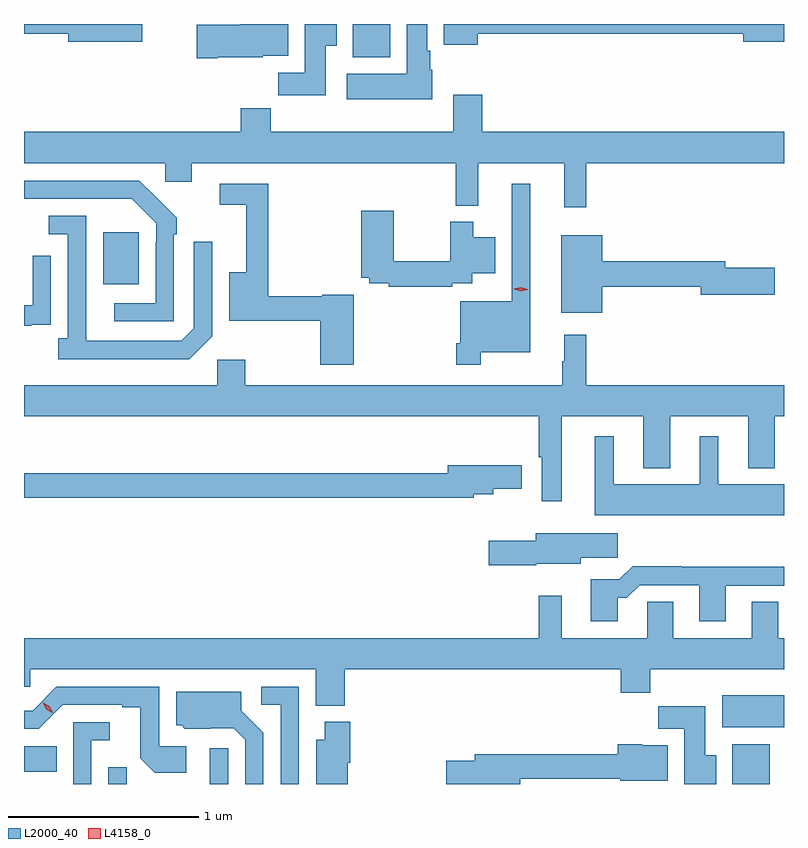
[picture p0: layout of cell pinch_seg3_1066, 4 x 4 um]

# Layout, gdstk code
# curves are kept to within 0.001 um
import gdstk
lib = gdstk.Library(unit=1e-6, precision=1e-09)
def R(c, l, rs):  # rectangles x0, y0, x1, y1
    for r in rs: c.add(gdstk.rectangle(r[:2], r[2:], *l))
def P(c, l, *ps):  # polygons
    for p in ps: c.add(gdstk.Polygon(p, *l))
L2000_40 = (2000, 40)
L4158_0 = (4158, 0)

pinch_seg3_1066 = lib.new_cell('pinch_seg3_1066')
R(pinch_seg3_1066, L2000_40, [(324.951,677.668,325.049,677.756), (325.485,677.668,325.581,677.857), (328.235,677.668,328.432,677.878), (324.507,677.732,324.68,677.866), (328.181,677.966,328.507,678.136), (324.923,680.297,325.111,680.572), (326.237,681.494,326.434,681.668)])
P(pinch_seg3_1066, L2000_40, [(326.095,681.553),(326.152,681.553),(326.152,681.668),(325.985,681.668),(325.985,681.412),(325.846,681.412),(325.846,681.294),(326.095,681.294)],
  [(326.896,681.616),(328.292,681.616),(328.292,681.574),(328.507,681.574),(328.507,681.668),(326.717,681.668),(326.717,681.56),(326.896,681.56)],
  [(325.528,681.494),(325.764,681.494),(325.764,681.5),(325.897,681.5),(325.897,681.668),(325.646,681.668),(325.646,681.665),(325.416,681.665),(325.416,681.487),(325.528,681.487)],
  [(326.656,681.426),(326.644,681.426),(326.644,681.526),(326.629,681.526),(326.629,681.668),(326.522,681.668),(326.522,681.406),(326.205,681.406),(326.205,681.272),(326.656,681.272)],
  [(325.129,681.668),(324.507,681.668),(324.507,681.616),(324.74,681.616),(324.74,681.574),(325.129,681.574)],
  [(327.467,680.936),(328.507,680.936),(328.507,681.1),(326.918,681.1),(326.918,681.295),(326.765,681.295),(326.765,681.1),(325.805,681.1),(325.805,681.224),(325.649,681.224),(325.649,681.1),(324.507,681.1),(324.507,680.936),(325.251,680.936),(325.251,680.838),(325.39,680.838),(325.39,680.936),(326.779,680.936),(326.779,680.711),(326.897,680.711),(326.897,680.936),(327.35,680.936),(327.35,680.703),(327.467,680.703)],
  [(325.296,680.561),(325.311,680.561),(325.311,680.649),(325.114,680.844),(324.507,680.844),(324.507,680.748),(325.075,680.748),(325.203,680.619),(325.203,680.519),(325.2,680.519),(325.2,680.199),(324.981,680.199),(324.981,680.103),(325.296,680.103)],
  [(326.911,679.94),(327.172,679.94),(327.172,680.827),(327.075,680.827),(327.075,680.209),(326.802,680.209),(326.802,679.987),(326.782,679.987),(326.782,679.875),(326.911,679.875)],
  [(326.243,680.242),(326.076,680.242),(326.076,680.234),(325.793,680.234),(325.793,680.826),(325.536,680.826),(325.536,680.718),(325.676,680.718),(325.676,680.362),(325.586,680.362),(325.586,680.106),(326.065,680.106),(326.065,679.875),(326.243,679.875)],
  [(326.762,680.304),(326.866,680.304),(326.866,680.357),(326.986,680.357),(326.986,680.545),(326.872,680.545),(326.872,680.626),(326.75,680.626),(326.75,680.42),(326.452,680.42),(326.452,680.686),(326.282,680.686),(326.282,680.333),(326.324,680.333),(326.324,680.304),(326.428,680.304),(326.428,680.284),(326.762,680.284)],
  [(325.497,680.025),(325.497,680.521),(325.401,680.521),(325.401,680.067),(325.335,680.001),(324.835,680.001),(324.834,680.658),(324.636,680.658),(324.636,680.562),(324.738,680.562),(324.738,680.014),(324.687,680.014),(324.687,679.904),(325.376,679.904)],
  [(327.55,680.284),(328.07,680.284),(328.07,680.242),(328.459,680.242),(328.459,680.384),(328.198,680.384),(328.198,680.42),(327.55,680.42),(327.55,680.557),(327.335,680.557),(327.335,680.147),(327.55,680.147)],
  [(324.545,680.085),(324.647,680.085),(324.647,680.194),(324.648,680.194),(324.648,680.449),(324.552,680.449),(324.552,680.187),(324.507,680.187),(324.507,680.079),(324.545,680.079)],
  [(325.671,679.9),(325.524,679.9),(325.524,679.768),(324.507,679.768),(324.507,679.604),(327.216,679.604),(327.216,679.388),(327.233,679.388),(327.233,679.155),(327.337,679.155),(327.337,679.604),(327.767,679.604),(327.767,679.331),(327.907,679.331),(327.907,679.604),(328.319,679.604),(328.319,679.331),(328.459,679.331),(328.459,679.604),(328.507,679.604),(328.507,679.768),(327.467,679.768),(327.467,680.032),(327.35,680.032),(327.35,679.892),(327.339,679.892),(327.339,679.768),(325.671,679.768)],
  [(328.507,679.246),(328.162,679.246),(328.162,679.498),(328.064,679.498),(328.064,679.246),(327.61,679.246),(327.61,679.498),(327.512,679.498),(327.512,679.082),(328.507,679.082)],
  [(326.873,679.193),(326.977,679.193),(326.977,679.223),(327.127,679.223),(327.127,679.345),(326.738,679.345),(326.738,679.303),(324.507,679.303),(324.507,679.174),(326.873,679.174)],
  [(327.204,678.827),(327.436,678.827),(327.436,678.859),(327.631,678.859),(327.631,678.988),(327.2,678.988),(327.2,678.949),(326.952,678.949),(326.952,678.82),(327.204,678.82)],
  [(327.631,678.647),(327.68,678.647),(327.747,678.714),(328.061,678.714),(328.061,678.525),(328.201,678.525),(328.201,678.711),(328.507,678.711),(328.507,678.812),(327.965,678.812),(327.965,678.815),(327.71,678.815),(327.64,678.745),(327.491,678.745),(327.491,678.525),(327.631,678.525)],
  [(326.195,678.272),(327.647,678.272),(327.647,678.148),(327.803,678.148),(327.803,678.272),(328.507,678.272),(328.507,678.436),(328.477,678.436),(328.477,678.626),(328.337,678.626),(328.337,678.436),(327.925,678.436),(327.925,678.626),(327.786,678.626),(327.786,678.436),(327.337,678.436),(327.337,678.658),(327.216,678.658),(327.216,678.436),(324.507,678.436),(324.507,678.179),(324.54,678.179),(324.54,678.272),(326.042,678.272),(326.042,678.08),(326.195,678.08)],
  [(325.36,677.868),(325.218,677.868),(325.218,678.18),(324.678,678.18),(324.552,678.054),(324.507,678.054),(324.507,677.958),(324.585,677.958),(324.711,678.084),(325.025,678.084),(325.025,678.072),(325.119,678.072),(325.119,677.804),(325.195,677.728),(325.36,677.728)],
  [(325.953,678.18),(325.755,678.18),(325.755,678.084),(325.857,678.084),(325.857,677.668),(325.953,677.668)],
  [(325.767,677.938),(325.651,678.054),(325.651,678.154),(325.307,678.154),(325.307,677.976),(325.338,677.976),(325.354,677.96),(325.611,677.961),(325.671,677.901),(325.671,677.668),(325.767,677.668)],
  [(328.15,677.82),(328.093,677.82),(328.093,678.078),(327.844,678.078),(327.844,677.96),(327.983,677.96),(327.983,677.668),(328.15,677.668)],
  [(326.212,677.781),(326.225,677.781),(326.225,677.995),(326.09,677.995),(326.09,677.902),(326.045,677.902),(326.045,677.668),(326.212,677.668)],
  [(324.861,677.897),(324.958,677.897),(324.958,677.994),(324.765,677.994),(324.765,677.668),(324.861,677.668)],
  [(327.118,677.695),(327.644,677.695),(327.644,677.684),(327.895,677.684),(327.895,677.872),(327.762,677.872),(327.762,677.878),(327.632,677.878),(327.632,677.824),(326.879,677.824),(326.879,677.79),(326.73,677.79),(326.73,677.668),(327.118,677.668)])
P(pinch_seg3_1066, L4158_0, [(327.121,680.262),(327.086,680.273),(327.085,680.273),(327.086,680.274),(327.122,680.282),(327.157,680.271),(327.157,680.27),(327.157,680.27)],
  [(324.656,678.043),(324.625,678.062),(324.608,678.095),(324.608,678.095),(324.608,678.095),(324.64,678.076),(324.657,678.043),(324.657,678.043)])

lib.write_gds('pinch_seg3_1066.gds')
